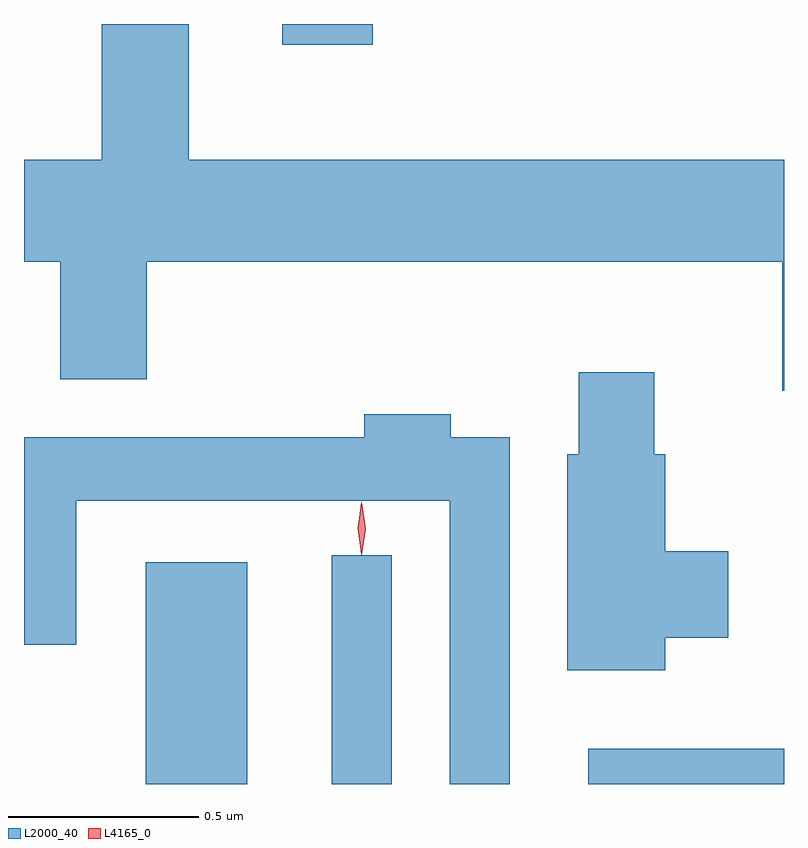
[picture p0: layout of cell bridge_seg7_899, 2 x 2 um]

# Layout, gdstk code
import gdstk
lib = gdstk.Library(unit=1e-6, precision=1e-09)
def R(c, l, rs):  # rectangles x0, y0, x1, y1
    for r in rs: c.add(gdstk.rectangle(r[:2], r[2:], *l))
def P(c, l, *ps):  # polygons
    for p in ps: c.add(gdstk.Polygon(p, *l))
L2000_40 = (2000, 40)
L4165_0 = (4165, 0)

bridge_seg7_899 = lib.new_cell('bridge_seg7_899')
R(bridge_seg7_899, L2000_40, [(319.606,1697.401,319.874,1697.984), (320.096,1697.401,320.254,1698.003), (320.771,1697.401,321.286,1697.494), (319.966,1699.346,320.204,1699.401)])
P(bridge_seg7_899, L2000_40, [(321.286,1699.044),(319.719,1699.044),(319.719,1699.401),(319.491,1699.401),(319.491,1699.044),(319.286,1699.044),(319.286,1698.776),(319.381,1698.776),(319.381,1698.466),(319.609,1698.466),(319.609,1698.776),(321.281,1698.776),(321.281,1698.436),(321.286,1698.436)],
  [(320.974,1697.786),(321.139,1697.786),(321.139,1698.014),(320.974,1698.014),(320.974,1698.269),(320.944,1698.269),(320.944,1698.484),(320.746,1698.484),(320.746,1698.269),(320.716,1698.269),(320.716,1697.701),(320.974,1697.701)],
  [(320.564,1698.314),(320.409,1698.314),(320.409,1698.374),(320.181,1698.374),(320.181,1698.314),(319.286,1698.314),(319.286,1697.768),(319.424,1697.768),(319.424,1698.146),(320.406,1698.146),(320.406,1697.401),(320.564,1697.401)])
P(bridge_seg7_899, L4165_0, [(320.174,1698.004),(320.165,1698.073),(320.174,1698.142),(320.175,1698.143),(320.175,1698.142),(320.185,1698.073),(320.175,1698.004),(320.175,1698.004)],
  [(320.174,1698.007),(320.174,1698.007),(320.164,1698.074),(320.173,1698.14),(320.174,1698.14),(320.174,1698.14),(320.184,1698.074),(320.175,1698.007)])

lib.write_gds('bridge_seg7_899.gds')
